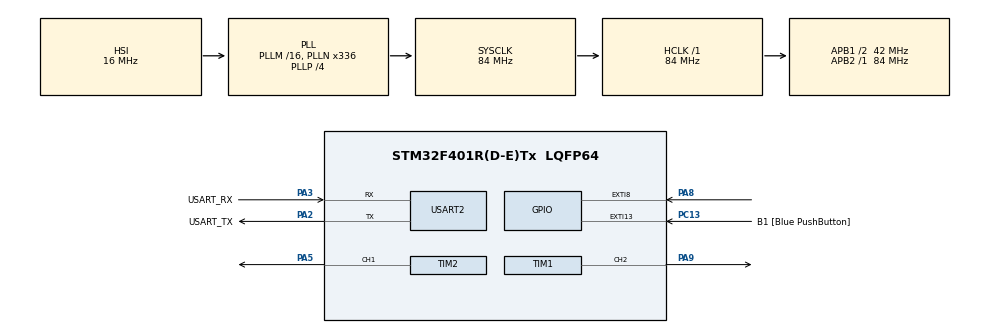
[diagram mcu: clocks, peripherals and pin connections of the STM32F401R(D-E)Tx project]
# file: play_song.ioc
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Mcu.Family=STM32F4
Mcu.Name=STM32F401R(D-E)Tx
Mcu.Package=LQFP64
NVIC.EXTI9_5_IRQn=true\:0\:0\:false\:false\:true\:true\:true\:true
NVIC.PriorityGroup=NVIC_PRIORITYGROUP_4
NVIC.TIM2_IRQn=true\:0\:0\:false\:false\:true\:true\:true\:true
PA13.GPIO_Label=TMS
PA13.Mode=Trace_Asynchronous_SW
PA13.Signal=SYS_JTMS-SWDIO
PA14.GPIO_Label=TCK
PA14.Mode=Trace_Asynchronous_SW
PA14.Signal=SYS_JTCK-SWCLK
PA2.GPIO_Label=USART_TX
PA2.GPIO_Mode=GPIO_MODE_AF_PP
PA2.GPIO_PuPd=GPIO_NOPULL
PA2.GPIO_Speed=GPIO_SPEED_FREQ_LOW
PA2.Mode=Asynchronous
PA2.Signal=USART2_TX
PA3.GPIO_Label=USART_RX
PA3.GPIO_Mode=GPIO_MODE_AF_PP
PA3.GPIO_PuPd=GPIO_NOPULL
PA3.GPIO_Speed=GPIO_SPEED_FREQ_LOW
PA3.Mode=Asynchronous
PA3.Signal=USART2_RX
PA5.Signal=S_TIM2_CH1_ETR
PA8.Signal=GPXTI8
PA9.Signal=S_TIM1_CH2
PB3.GPIO_Label=SWO
PB3.Mode=Trace_Asynchronous_SW
PB3.Signal=SYS_JTDO-SWO
PC13-ANTI_TAMP.GPIO_Label=B1 [Blue PushButton]
PC13-ANTI_TAMP.GPIO_ModeDefaultEXTI=GPIO_MODE_IT_FALLING
PC13-ANTI_TAMP.GPIO_PuPd=GPIO_NOPULL
PC13-ANTI_TAMP.Signal=GPXTI13
PC14-OSC32_IN.Mode=LSE-External-Oscillator
PC14-OSC32_IN.Signal=RCC_OSC32_IN
PC15-OSC32_OUT.Mode=LSE-External-Oscillator
PC15-OSC32_OUT.Signal=RCC_OSC32_OUT
PH0\ -\ OSC_IN.Mode=HSE-External-Clock-Source
PH0\ -\ OSC_IN.Signal=RCC_OSC_IN
PH1\ -\ OSC_OUT.Mode=HSE-External-Clock-Source
PH1\ -\ OSC_OUT.Signal=RCC_OSC_OUT
ProjectManager.HeapSize=0x200
ProjectManager.StackSize=0x400
ProjectManager.TargetToolchain=STM32CubeIDE
RCC.48MHZClocksFreq_Value=48000000
RCC.AHBFreq_Value=84000000
RCC.APB1CLKDivider=RCC_HCLK_DIV2
RCC.APB1Freq_Value=42000000
RCC.APB1TimFreq_Value=84000000
RCC.APB2Freq_Value=84000000
RCC.APB2TimFreq_Value=84000000
RCC.CortexFreq_Value=84000000
RCC.HCLKFreq_Value=84000000
RCC.HSE_VALUE=8000000
RCC.HSI_VALUE=16000000
RCC.PLLN=336
RCC.PLLP=RCC_PLLP_DIV4
RCC.PLLQ=7
RCC.SYSCLKFreq_VALUE=84000000
RCC.SYSCLKSource=RCC_SYSCLKSOURCE_PLLCLK
RCC.VCOOutputFreq_Value=336000000
SH.S_TIM1_CH2.0=TIM1_CH2,PWM Generation2 CH2
SH.S_TIM2_CH1_ETR.0=TIM2_CH1,PWM Generation1 CH1
TIM1.Channel-PWM\ Generation2\ CH2=TIM_CHANNEL_2
TIM2.Channel-PWM\ Generation1\ CH1=TIM_CHANNEL_1
TIM2.Period=749
TIM2.Prescaler=8399
USART2.VirtualMode=VM_ASYNC
VP_TIM1_VS_ClockSourceINT.Mode=Internal
VP_TIM2_VS_ClockSourceINT.Mode=Internal
board=NUCLEO-F401RE

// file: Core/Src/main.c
/* USER CODE BEGIN Header */
/**
  ******************************************************************************
  * @file           : main.c
  * @brief          : Main program body
  ******************************************************************************
  * @attention
  *
  * Copyright (c) 2025 STMicroelectronics.
  * All rights reserved.
  *
  * This software is licensed under terms that can be found in the LICENSE file
  * in the root directory of this software component.
  * If no LICENSE file comes with this software, it is provided AS-IS.
  *
  ******************************************************************************
  */
/* USER CODE END Header */
#include "main.h"

/* USER CODE BEGIN PTD */
	struct note {
		int tone;
		int duration;
	};
/* USER CODE END PTD */

/* USER CODE BEGIN PD */
	#define _DO4 3205
	#define _DOD4 3031
	#define _RE4 2856
	#define _RED4 2699
	#define _MI4 2544
	#define _FA4 2405
	#define _FAD4 2269
	#define _SOL4 2141
	#define _SOLD4 2141
	#define _LA4 1908
	#define _LAD4 1801
	#define _SI4 1699

	#define TEMPO 75

/* USER CODE END PD */

TIM_HandleTypeDef htim1;
TIM_HandleTypeDef htim2;

UART_HandleTypeDef huart2;

/* USER CODE BEGIN PV */
uint32_t tick;
uint32_t last_tick = 0;
uint32_t delta;
volatile uint32_t flag_mic = 0;
volatile int playing = 0;
volatile int count_tick = 0;
volatile int index_note = 0;

struct note score[]= {
		// Happy birthday to you
		{_DO4, 4}, {_DO4, 8}, {_RE4, 4}, {_DO4, 4}, {_FA4, 4}, {_MI4, 2},
		{_DO4, 4}, {_DO4, 8}, {_RE4, 4}, {_DO4, 4}, {_SOL4, 4}, {_FA4, 2},
		{_DO4, 4}, {_DO4, 8}, {_DO4, 4}, {_LA4, 4}, {_FA4, 4}, {_MI4, 4}, {_RE4, 2},
		{_LAD4, 4}, {_LAD4, 8}, {_LA4, 4}, {_FA4, 4}, {_SOL4, 4}, {_FA4, 2}
	};
int length = sizeof(score) / sizeof(score[0]);
/* USER CODE END PV */

void SystemClock_Config(void);
static void MX_GPIO_Init(void);
static void MX_USART2_UART_Init(void);
static void MX_TIM1_Init(void);
static void MX_TIM2_Init(void);

/* USER CODE BEGIN 0 */
__weak void HAL_GPIO_EXTI_Callback(uint16_t GPIO_Pin){
		//if (GPIO_Pin == GPIO_PIN_8) {
			//HAL_GPIO_TogglePin(GREEN_LED);
		//}
		// new code
		if (GPIO_Pin == GPIO_PIN_8 && playing == 0) {
			playing = 1;
			tick= HAL_GetTick();
			delta = tick - last_tick;
			if (delta >= 100) {
				flag_mic = 1;
			}
			last_tick = tick;
		}
	}

void HAL_TIM_PeriodElapsedCallback(TIM_HandleTypeDef *htim){
	if (htim->Instance == TIM2){
//		HAL_GPIO_TogglePin(GPIOA, GPIO_PIN_5);
		if(count_tick == score[index_note].duration){
			HAL_TIM_Base_Stop_IT(&htim2);
			count_tick=0;
			HAL_TIM_PWM_Stop(&htim1, TIM_CHANNEL_2);
			if(index_note < length - 1){
				index_note++;
				flag_mic = 1;
			}else{
				playing = 0;
				index_note = 0;
			}
		}else{
			count_tick++;
		}
	}
}

void playnote(struct note note_playing) {

		TIM_ClockConfigTypeDef sClockSourceConfig = {0};
		TIM_MasterConfigTypeDef sMasterConfig = {0};
		TIM_OC_InitTypeDef sConfigOC = {0};
		TIM_BreakDeadTimeConfigTypeDef sBreakDeadTimeConfig = {0};

		htim1.Instance = TIM1;
		htim1.Init.Prescaler = 100;
	    htim1.Init.CounterMode = TIM_COUNTERMODE_UP;
		htim1.Init.Period = note_playing.tone;
		htim1.Init.ClockDivision = TIM_CLOCKDIVISION_DIV1;
		htim1.Init.RepetitionCounter = 0;
		htim1.Init.AutoReloadPreload = TIM_AUTORELOAD_PRELOAD_DISABLE;
		if (HAL_TIM_Base_Init(&htim1) != HAL_OK) {
		    Error_Handler();
		}

		sConfigOC.OCMode = TIM_OCMODE_PWM1;
		sConfigOC.Pulse = note_playing.tone /2;
		sConfigOC.OCPolarity = TIM_OCPOLARITY_HIGH;
		sConfigOC.OCNPolarity = TIM_OCNPOLARITY_HIGH;
		sConfigOC.OCFastMode = TIM_OCFAST_DISABLE;
		sConfigOC.OCIdleState = TIM_OCIDLESTATE_RESET;
		sConfigOC.OCNIdleState = TIM_OCNIDLESTATE_RESET;
		if (HAL_TIM_PWM_ConfigChannel(&htim1, &sConfigOC, TIM_CHANNEL_2) != HAL_OK) {
		    Error_Handler();
		}

		HAL_TIM_PWM_Start(&htim1, TIM_CHANNEL_2);
		HAL_TIM_Base_Start_IT(&htim2);
//		HAL_Delay(note_playing.duration * TEMPO);
//		HAL_TIM_PWM_Stop(&htim1, TIM_CHANNEL_2);

	}
	void playsong() {
		int length = sizeof(score) / sizeof(score[0]);

		for (int i= 0; i<length;i++) {
			playnote(score[i]);
		}
	}
/* USER CODE END 0 */

int main(void)
{

  /* MCU Configuration--------------------------------------------------------*/

  /* Reset of all peripherals, Initializes the Flash interface and the Systick. */
  HAL_Init();

  /* Configure the system clock */
  SystemClock_Config();

  /* Initialize all configured peripherals */
  MX_GPIO_Init();
  MX_USART2_UART_Init();
  MX_TIM1_Init();
  MX_TIM2_Init();

  /* Infinite loop */
  while (1)
  {

    /* USER CODE BEGIN 3 */
	  if (flag_mic == 1 ) {
		  flag_mic = 0;
	      playnote(score[index_note]);
	  }
  }
  /* USER CODE END 3 */
}

void SystemClock_Config(void)
{
  RCC_OscInitTypeDef RCC_OscInitStruct = {0};
  RCC_ClkInitTypeDef RCC_ClkInitStruct = {0};

  /** Configure the main internal regulator output voltage
  */
  __HAL_RCC_PWR_CLK_ENABLE();
  __HAL_PWR_VOLTAGESCALING_CONFIG(PWR_REGULATOR_VOLTAGE_SCALE2);

  /** Initializes the RCC Oscillators according to the specified parameters
  * in the RCC_OscInitTypeDef structure.
  */
  RCC_OscInitStruct.OscillatorType = RCC_OSCILLATORTYPE_HSI;
  RCC_OscInitStruct.HSIState = RCC_HSI_ON;
  RCC_OscInitStruct.HSICalibrationValue = RCC_HSICALIBRATION_DEFAULT;
  RCC_OscInitStruct.PLL.PLLState = RCC_PLL_ON;
  RCC_OscInitStruct.PLL.PLLSource = RCC_PLLSOURCE_HSI;
  RCC_OscInitStruct.PLL.PLLM = 16;
  RCC_OscInitStruct.PLL.PLLN = 336;
  RCC_OscInitStruct.PLL.PLLP = RCC_PLLP_DIV4;
  RCC_OscInitStruct.PLL.PLLQ = 7;
  if (HAL_RCC_OscConfig(&RCC_OscInitStruct) != HAL_OK)
  {
    Error_Handler();
  }

  /** Initializes the CPU, AHB and APB buses clocks
  */
  RCC_ClkInitStruct.ClockType = RCC_CLOCKTYPE_HCLK|RCC_CLOCKTYPE_SYSCLK
                              |RCC_CLOCKTYPE_PCLK1|RCC_CLOCKTYPE_PCLK2;
  RCC_ClkInitStruct.SYSCLKSource = RCC_SYSCLKSOURCE_PLLCLK;
  RCC_ClkInitStruct.AHBCLKDivider = RCC_SYSCLK_DIV1;
  RCC_ClkInitStruct.APB1CLKDivider = RCC_HCLK_DIV2;
  RCC_ClkInitStruct.APB2CLKDivider = RCC_HCLK_DIV1;

  if (HAL_RCC_ClockConfig(&RCC_ClkInitStruct, FLASH_LATENCY_2) != HAL_OK)
  {
    Error_Handler();
  }
}

static void MX_TIM1_Init(void)
{

  TIM_ClockConfigTypeDef sClockSourceConfig = {0};
  TIM_MasterConfigTypeDef sMasterConfig = {0};
  TIM_OC_InitTypeDef sConfigOC = {0};
  TIM_BreakDeadTimeConfigTypeDef sBreakDeadTimeConfig = {0};

  htim1.Instance = TIM1;
  htim1.Init.Prescaler = 0;
  htim1.Init.CounterMode = TIM_COUNTERMODE_UP;
  htim1.Init.Period = 65535;
  htim1.Init.ClockDivision = TIM_CLOCKDIVISION_DIV1;
  htim1.Init.RepetitionCounter = 0;
  htim1.Init.AutoReloadPreload = TIM_AUTORELOAD_PRELOAD_DISABLE;
  if (HAL_TIM_Base_Init(&htim1) != HAL_OK)
  {
    Error_Handler();
  }
  sClockSourceConfig.ClockSource = TIM_CLOCKSOURCE_INTERNAL;
  if (HAL_TIM_ConfigClockSource(&htim1, &sClockSourceConfig) != HAL_OK)
  {
    Error_Handler();
  }
  if (HAL_TIM_PWM_Init(&htim1) != HAL_OK)
  {
    Error_Handler();
  }
  sMasterConfig.MasterOutputTrigger = TIM_TRGO_RESET;
  sMasterConfig.MasterSlaveMode = TIM_MASTERSLAVEMODE_DISABLE;
  if (HAL_TIMEx_MasterConfigSynchronization(&htim1, &sMasterConfig) != HAL_OK)
  {
    Error_Handler();
  }
  sConfigOC.OCMode = TIM_OCMODE_PWM1;
  sConfigOC.Pulse = 0;
  sConfigOC.OCPolarity = TIM_OCPOLARITY_HIGH;
  sConfigOC.OCNPolarity = TIM_OCNPOLARITY_HIGH;
  sConfigOC.OCFastMode = TIM_OCFAST_DISABLE;
  sConfigOC.OCIdleState = TIM_OCIDLESTATE_RESET;
  sConfigOC.OCNIdleState = TIM_OCNIDLESTATE_RESET;
  if (HAL_TIM_PWM_ConfigChannel(&htim1, &sConfigOC, TIM_CHANNEL_2) != HAL_OK)
  {
    Error_Handler();
  }
  sBreakDeadTimeConfig.OffStateRunMode = TIM_OSSR_DISABLE;
  sBreakDeadTimeConfig.OffStateIDLEMode = TIM_OSSI_DISABLE;
  sBreakDeadTimeConfig.LockLevel = TIM_LOCKLEVEL_OFF;
  sBreakDeadTimeConfig.DeadTime = 0;
  sBreakDeadTimeConfig.BreakState = TIM_BREAK_DISABLE;
  sBreakDeadTimeConfig.BreakPolarity = TIM_BREAKPOLARITY_HIGH;
  sBreakDeadTimeConfig.AutomaticOutput = TIM_AUTOMATICOUTPUT_DISABLE;
  if (HAL_TIMEx_ConfigBreakDeadTime(&htim1, &sBreakDeadTimeConfig) != HAL_OK)
  {
    Error_Handler();
  }
  HAL_TIM_MspPostInit(&htim1);

}

static void MX_TIM2_Init(void)
{

  TIM_ClockConfigTypeDef sClockSourceConfig = {0};
  TIM_MasterConfigTypeDef sMasterConfig = {0};
  TIM_OC_InitTypeDef sConfigOC = {0};

  htim2.Instance = TIM2;
  htim2.Init.Prescaler = 8399;
  htim2.Init.CounterMode = TIM_COUNTERMODE_UP;
  htim2.Init.Period = 749;
  htim2.Init.ClockDivision = TIM_CLOCKDIVISION_DIV1;
  htim2.Init.AutoReloadPreload = TIM_AUTORELOAD_PRELOAD_DISABLE;
  if (HAL_TIM_Base_Init(&htim2) != HAL_OK)
  {
    Error_Handler();
  }
  sClockSourceConfig.ClockSource = TIM_CLOCKSOURCE_INTERNAL;
  if (HAL_TIM_ConfigClockSource(&htim2, &sClockSourceConfig) != HAL_OK)
  {
    Error_Handler();
  }
  if (HAL_TIM_PWM_Init(&htim2) != HAL_OK)
  {
    Error_Handler();
  }
  sMasterConfig.MasterOutputTrigger = TIM_TRGO_RESET;
  sMasterConfig.MasterSlaveMode = TIM_MASTERSLAVEMODE_DISABLE;
  if (HAL_TIMEx_MasterConfigSynchronization(&htim2, &sMasterConfig) != HAL_OK)
  {
    Error_Handler();
  }
  sConfigOC.OCMode = TIM_OCMODE_PWM1;
  sConfigOC.Pulse = 0;
  sConfigOC.OCPolarity = TIM_OCPOLARITY_HIGH;
  sConfigOC.OCFastMode = TIM_OCFAST_DISABLE;
  if (HAL_TIM_PWM_ConfigChannel(&htim2, &sConfigOC, TIM_CHANNEL_1) != HAL_OK)
  {
    Error_Handler();
  }
  HAL_TIM_MspPostInit(&htim2);

}

static void MX_USART2_UART_Init(void)
{

  huart2.Instance = USART2;
  huart2.Init.BaudRate = 115200;
  huart2.Init.WordLength = UART_WORDLENGTH_8B;
  huart2.Init.StopBits = UART_STOPBITS_1;
  huart2.Init.Parity = UART_PARITY_NONE;
  huart2.Init.Mode = UART_MODE_TX_RX;
  huart2.Init.HwFlowCtl = UART_HWCONTROL_NONE;
  huart2.Init.OverSampling = UART_OVERSAMPLING_16;
  if (HAL_UART_Init(&huart2) != HAL_OK)
  {
    Error_Handler();
  }

}

static void MX_GPIO_Init(void)
{
  GPIO_InitTypeDef GPIO_InitStruct = {0};

  /* GPIO Ports Clock Enable */
  __HAL_RCC_GPIOC_CLK_ENABLE();
  __HAL_RCC_GPIOH_CLK_ENABLE();
  __HAL_RCC_GPIOA_CLK_ENABLE();
  __HAL_RCC_GPIOB_CLK_ENABLE();

  /*Configure GPIO pin : B1_Pin */
  GPIO_InitStruct.Pin = B1_Pin;
  GPIO_InitStruct.Mode = GPIO_MODE_IT_FALLING;
  GPIO_InitStruct.Pull = GPIO_NOPULL;
  HAL_GPIO_Init(B1_GPIO_Port, &GPIO_InitStruct);

  /*Configure GPIO pin : PA8 */
  GPIO_InitStruct.Pin = GPIO_PIN_8;
  GPIO_InitStruct.Mode = GPIO_MODE_IT_RISING;
  GPIO_InitStruct.Pull = GPIO_NOPULL;
  HAL_GPIO_Init(GPIOA, &GPIO_InitStruct);

  /* EXTI interrupt init*/
  HAL_NVIC_SetPriority(EXTI9_5_IRQn, 0, 0);
  HAL_NVIC_EnableIRQ(EXTI9_5_IRQn);

}

void Error_Handler(void)
{
  __disable_irq();
  while (1)
  {
  }
}
